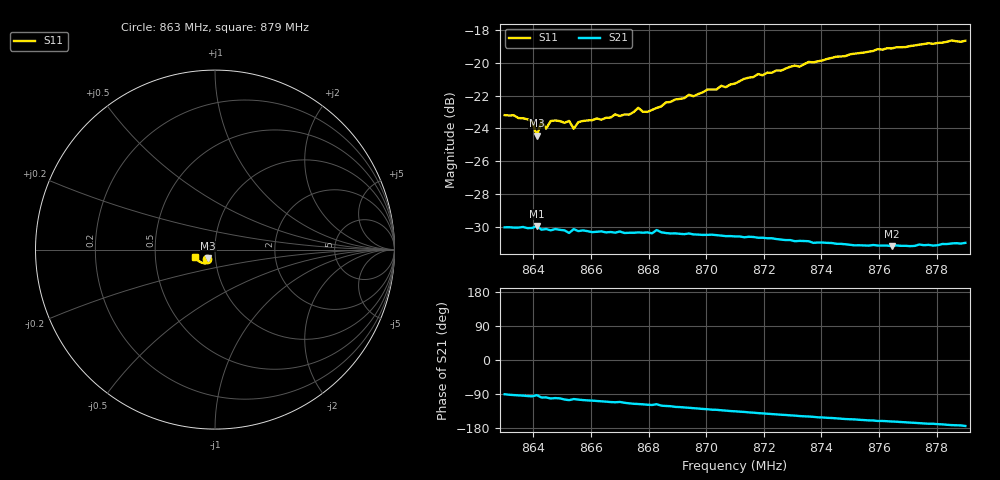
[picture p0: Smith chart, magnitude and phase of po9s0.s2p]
# HZ S RI R 50
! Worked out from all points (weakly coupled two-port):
!   101 points, 863 MHz to 879 MHz, reference 50 ohm
!   highest |S21| = -29.96 dB at 864.12 MHz (marker M1); lowest = -31.2 dB at 876.44 MHz (marker M2)
!   lowest |S11| = -24.4 dB at 864.12 MHz (marker M3), VSWR 1.13, Z = 46.1 - j4.28 ohm
!   |S11| at or under -10 dB: start of sweep to end of sweep
!   S12 and S22 are empty: the file has one direction only
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8.63e8  -0.0453 -0.0525  -0.000195 -0.0315  0 0  0 0
8.6396e8  -0.04 -0.0527  -0.00316 -0.0312  0 0  0 0
8.6412e8  -0.0382 -0.0463  -0.00158 -0.0317  0 0  0 0
8.6428e8  -0.0383 -0.0542  -0.00484 -0.0306  0 0  0 0
8.6444e8  -0.0358 -0.0519  -0.00469 -0.0308  0 0  0 0
8.646e8  -0.0386 -0.0542  -0.00617 -0.0302  0 0  0 0
8.6524e8  -0.0374 -0.0551  -0.00832 -0.0291  0 0  0 0
8.654e8  -0.0335 -0.0534  -0.00702 -0.0303  0 0  0 0
8.6556e8  -0.0363 -0.0551  -0.00768 -0.0297  0 0  0 0
8.6572e8  -0.0355 -0.0563  -0.00835 -0.0297  0 0  0 0
8.6732e8  -0.0344 -0.0604  -0.0125 -0.0276  0 0  0 0
8.6764e8  -0.0362 -0.0634  -0.0134 -0.0273  0 0  0 0
8.6796e8  -0.0342 -0.0621  -0.0143 -0.0268  0 0  0 0
8.6844e8  -0.0359 -0.0644  -0.0154 -0.0262  0 0  0 0
8.694e8  -0.0395 -0.0695  -0.0178 -0.0244  0 0  0 0
8.6956e8  -0.0395 -0.0686  -0.0181 -0.0239  0 0  0 0
8.7004e8  -0.0414 -0.0719  -0.0191 -0.0229  0 0  0 0
8.71e8  -0.0469 -0.0727  -0.021 -0.0208  0 0  0 0
8.718e8  -0.053 -0.0759  -0.0225 -0.0187  0 0  0 0
8.7372e8  -0.0678 -0.0741  -0.0244 -0.0141  0 0  0 0
8.7644e8  -0.092 -0.0617  -0.0263 -0.00838  0 0  0 0
8.79e8  -0.11 -0.0398  -0.0281 -0.00289  0 0  0 0
